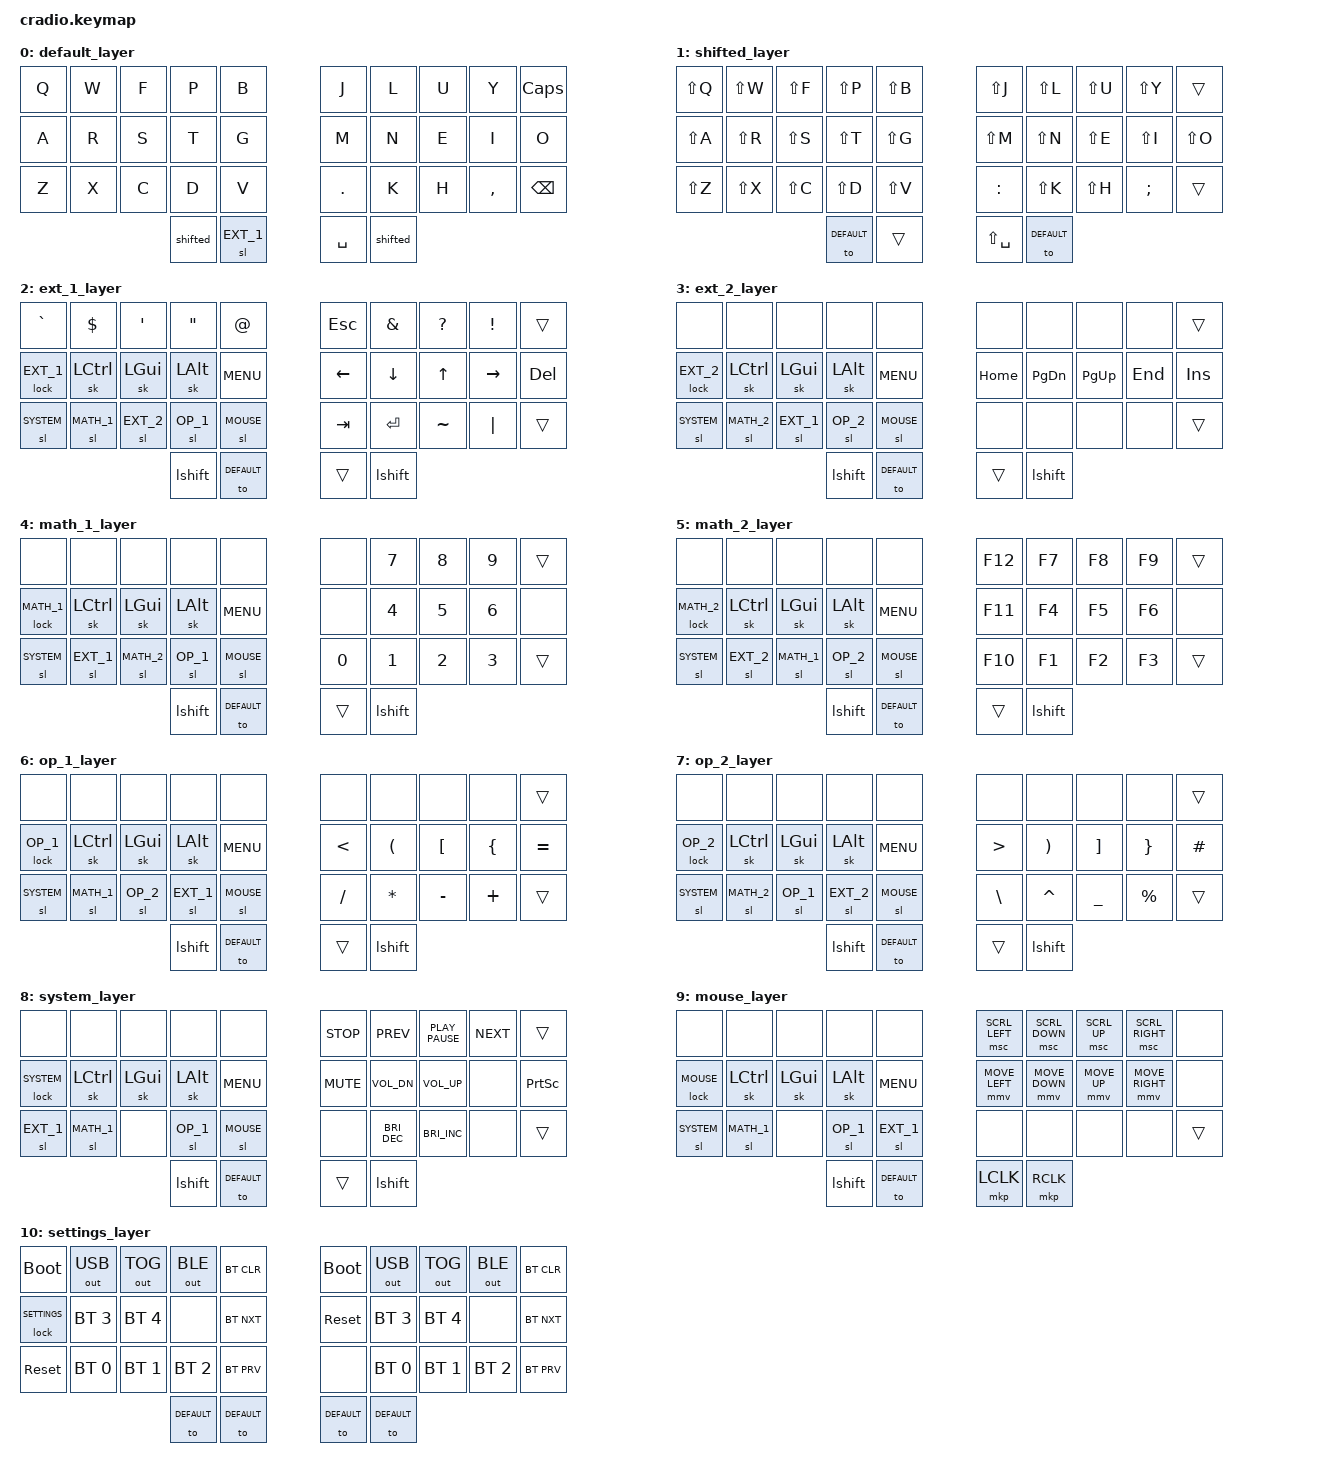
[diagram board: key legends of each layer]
#include <behaviors.dtsi>
#include <dt-bindings/zmk/bt.h>
#include <dt-bindings/zmk/keys.h>
#include <dt-bindings/zmk/outputs.h>
#include <dt-bindings/zmk/pointing.h>

// Layers
#define DEFAULT  0
#define SHIFTED  1
#define EXT_1 2
#define EXT_2 3
#define MATH_1 4
#define MATH_2 5
#define OP_1 6
#define OP_2 7
#define SYSTEM 8
#define MOUSE 9
#define SETTINGS 10
#define LOCK 11

&sk { ignore-modifiers; };

/ {
    behaviors {
        shifted: tap_dance_0 {
            compatible = "zmk,behavior-tap-dance";
            label = "TAP_DANCE_0";
            #binding-cells = <0>;
            tapping-term-ms = <200>;
            bindings = <&sl SHIFTED>, <&caps_word>;
        };

        lshift: tap_dance_1 {
            compatible = "zmk,behavior-tap-dance";
            label = "TAP_DANCE_1";
            #binding-cells = <0>;
            tapping-term-ms = <200>;
            bindings = <&sk LSHIFT>, <&caps_word>;
        };
    };

    keymap {
        compatible = "zmk,keymap";

        default_layer {
            bindings = <
                &kp Q &kp W &kp F &kp P &kp B                                   &kp J   &kp L &kp U &kp Y     &kp CAPS
                &kp A &kp R &kp S &kp T &kp G                                   &kp M   &kp N &kp E &kp I     &kp O
                &kp Z &kp X &kp C &kp D &kp V                                   &kp DOT &kp K &kp H &kp COMMA &kp BACKSPACE
                           &shifted &sl EXT_1                                   &kp SPACE &shifted
            >;
        };

        shifted_layer {
            bindings = <
                &kp LS(Q) &kp LS(W) &kp LS(F) &kp LS(P) &kp LS(B)               &kp LS(J) &kp LS(L) &kp LS(U) &kp LS(Y)      &trans
                &kp LS(A) &kp LS(R) &kp LS(S) &kp LS(T) &kp LS(G)               &kp LS(M) &kp LS(N) &kp LS(E) &kp LS(I)      &kp LS(O)
                &kp LS(Z) &kp LS(X) &kp LS(C) &kp LS(D) &kp LS(V)               &kp COLON &kp LS(K) &kp LS(H) &kp SEMICOLON  &trans
                                               &to DEFAULT &trans               &kp LS(SPACE) &to DEFAULT
            >;
        };

        ext_1_layer {
            bindings = <
                &kp GRAVE   &kp DOLLAR &kp SQT      &kp DQT  &kp AT             &kp ESCAPE &kp AMPS   &kp QMARK &kp EXCL  &trans
                &lock EXT_1 &sk LCTRL  &sk LEFT_GUI &sk LALT &kp K_MENU         &kp LEFT   &kp DOWN   &kp UP    &kp RIGHT &kp DELETE
                &sl SYSTEM  &sl MATH_1 &sl EXT_2    &sl OP_1 &sl MOUSE          &kp TAB    &kp ENTER  &kp TILDE &kp PIPE  &trans
                                                    &lshift &to DEFAULT         &trans &lshift
            >;
        };

        ext_2_layer {
            bindings = <
                &none       &none      &none        &none    &none              &none    &none         &none       &none   &trans
                &lock EXT_2 &sk LCTRL  &sk LEFT_GUI &sk LALT &kp K_MENU         &kp HOME &kp PAGE_DOWN &kp PAGE_UP &kp END &kp INSERT
                &sl SYSTEM  &sl MATH_2 &sl EXT_1    &sl OP_2 &sl MOUSE          &none    &none         &none       &none   &trans
                                                    &lshift &to DEFAULT         &trans &lshift
            >;
        };


        math_1_layer {
            bindings = <
                &none        &none     &none        &none    &none              &none  &kp N7 &kp N8 &kp N9 &trans
                &lock MATH_1 &sk LCTRL &sk LEFT_GUI &sk LALT &kp K_MENU         &none  &kp N4 &kp N5 &kp N6 &none
                &sl SYSTEM   &sl EXT_1 &sl MATH_2   &sl OP_1 &sl MOUSE          &kp N0 &kp N1 &kp N2 &kp N3 &trans
                                                    &lshift &to DEFAULT         &trans &lshift
            >;
        };

        math_2_layer {
            bindings = <
                &none        &none     &none        &none    &none              &kp F12 &kp F7 &kp F8 &kp F9 &trans
                &lock MATH_2 &sk LCTRL &sk LEFT_GUI &sk LALT &kp K_MENU         &kp F11 &kp F4 &kp F5 &kp F6 &none
                &sl SYSTEM   &sl EXT_2 &sl MATH_1   &sl OP_2 &sl MOUSE          &kp F10 &kp F1 &kp F2 &kp F3 &trans
                                                    &lshift &to DEFAULT         &trans &lshift
            >;
        };

        op_1_layer {
            bindings = <
                &none      &none      &none        &none     &none              &none         &none    &none     &none    &trans
                &lock OP_1 &sk LCTRL  &sk LEFT_GUI &sk LALT  &kp K_MENU         &kp LESS_THAN &kp LPAR &kp LBKT  &kp LBRC &kp EQUAL
                &sl SYSTEM &sl MATH_1 &sl OP_2     &sl EXT_1 &sl MOUSE          &kp SLASH     &kp STAR &kp MINUS &kp PLUS &trans
                                                    &lshift &to DEFAULT         &trans &lshift
            >;
        };

        op_2_layer {
            bindings = <
                &none      &none      &none        &none     &none              &none            &none     &none     &none      &trans
                &lock OP_2 &sk LCTRL  &sk LEFT_GUI &sk LALT  &kp K_MENU         &kp GREATER_THAN &kp RPAR  &kp RBKT  &kp RBRC   &kp HASH
                &sl SYSTEM &sl MATH_2 &sl OP_1     &sl EXT_2 &sl MOUSE          &kp BACKSLASH    &kp CARET &kp UNDER &kp PERCENT &trans
                                                    &lshift &to DEFAULT         &trans &lshift
            >;
        };

        system_layer {
            bindings = <
                &none        &none      &none        &none    &none             &kp K_STOP &kp K_PREV    &kp K_PLAY_PAUSE &kp K_NEXT &trans
                &lock SYSTEM &sk LCTRL  &sk LEFT_GUI &sk LALT &kp K_MENU        &kp C_MUTE &kp C_VOL_DN  &kp C_VOL_UP     &none      &kp PSCRN
                &sl EXT_1    &sl MATH_1 &none        &sl OP_1 &sl MOUSE         &none      &kp C_BRI_DEC &kp C_BRI_INC    &none      &trans
                                                     &lshift &to DEFAULT        &trans &lshift
            >;
        };

        mouse_layer {
            bindings = <
                &none       &none      &none        &none    &none              &msc SCRL_LEFT &msc SCRL_DOWN &msc SCRL_UP &msc SCRL_RIGHT &none
                &lock MOUSE &sk LCTRL  &sk LEFT_GUI &sk LALT &kp K_MENU         &mmv MOVE_LEFT &mmv MOVE_DOWN &mmv MOVE_UP &mmv MOVE_RIGHT &none
                &sl SYSTEM  &sl MATH_1 &none        &sl OP_1 &sl EXT_1          &none          &none          &none        &none           &trans
                                                    &lshift &to DEFAULT         &mkp LCLK &mkp RCLK
            >;
        };

        settings_layer {
            bindings = <
                &bootloader    &out OUT_USB &out OUT_TOG &out OUT_BLE &bt BT_CLR   &bootloader &out OUT_USB &out OUT_TOG &out OUT_BLE &bt BT_CLR
                &lock SETTINGS &bt BT_SEL 3 &bt BT_SEL 4 &none        &bt BT_NXT   &sys_reset  &bt BT_SEL 3 &bt BT_SEL 4 &none        &bt BT_NXT
                &sys_reset     &bt BT_SEL 0 &bt BT_SEL 1 &bt BT_SEL 2 &bt BT_PRV   &none       &bt BT_SEL 0 &bt BT_SEL 1 &bt BT_SEL 2 &bt BT_PRV
                                                         &to DEFAULT &to DEFAULT   &to DEFAULT &to DEFAULT
            >;
        };
    };

    macros {
        lock: lock {
            compatible = "zmk,behavior-macro-one-param";
            #binding-cells = <1>; // Must be 1
            bindings
                = <&macro_pause_for_release>
                , <&to DEFAULT>
                , <&macro_param_1to1>, <&to MACRO_PLACEHOLDER>
                ;
        };
    };

    combos {
        compatible = "zmk,combos";

        // Settings: lshift + ext_1 + lshift
        settings {
            timeout-ms = <300>;
            key-positions = <30 31 33>;
            bindings = <&mo SETTINGS>;
        };

        settings_left {
            bindings = <&sl 10>;
            key-positions = <20 30 31 0>;
        };

        settings_right {
            bindings = <&sl 10>;
            key-positions = <33 32 29 9>;
        };

        // Mouse: LCLK + RCLK ⇒ MCLK
        middle_click {
            layers = <9>;
            timeout-ms = <100>;
            key-positions = <32 33>;
            bindings = <&mkp MCLK>;
        };
    };
};
